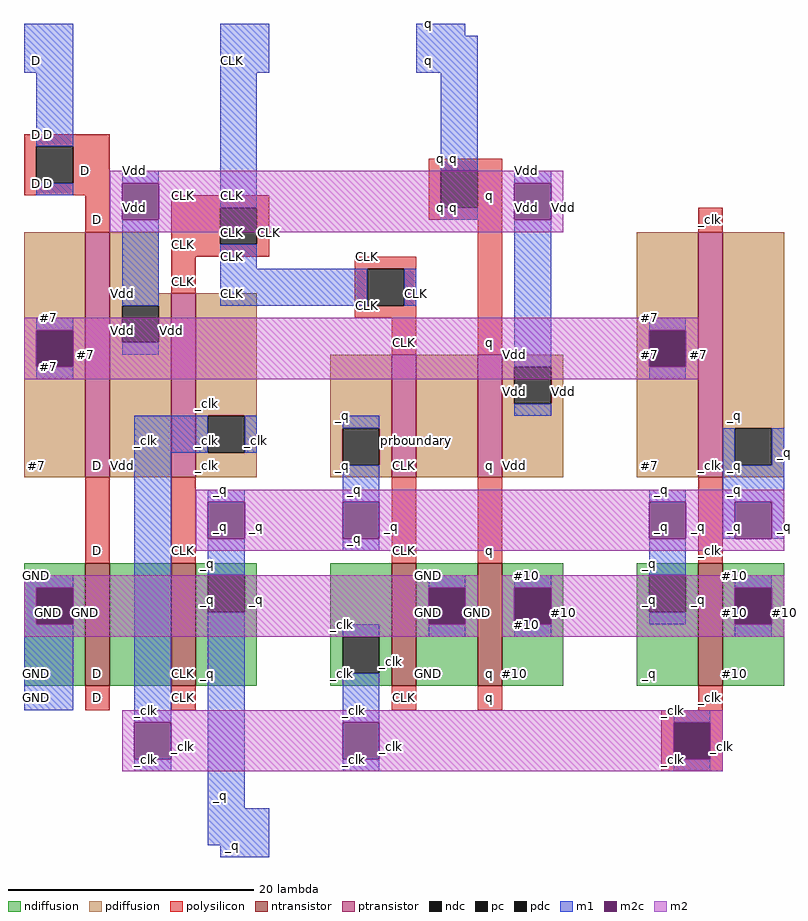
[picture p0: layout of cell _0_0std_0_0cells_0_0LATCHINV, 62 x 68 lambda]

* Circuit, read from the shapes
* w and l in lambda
.subckt _0_0std_0_0cells_0_0LATCHINV _q q CLK D
M1 n1 D GND VSUBS nfet w=10 l=2
M2 _q CLK n1 VSUBS nfet w=10 l=2
M3 GND CLK _clk VSUBS nfet w=10 l=2
M4 #10 q GND VSUBS nfet w=10 l=2
M5 #10 _clk _q VSUBS nfet w=10 l=2
M6 Vdd D #7 NWELL pfet w=20 l=2
M7 _clk CLK Vdd NWELL pfet w=15 l=2
M8 n2 CLK _q NWELL pfet w=10 l=2
M9 Vdd q n2 NWELL pfet w=10 l=2
M10 _q _clk #7 NWELL pfet w=20 l=2
.ends

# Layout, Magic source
magic
tech sky130l
<< ndiffusion >>
rect 8 26 13 28
rect 8 23 9 26
rect 12 23 13 26
rect 8 18 13 23
rect 15 18 20 28
rect 22 27 27 28
rect 22 24 23 27
rect 26 24 27 27
rect 22 18 27 24
rect 33 22 38 28
rect 33 19 34 22
rect 37 19 38 22
rect 33 18 38 19
rect 40 26 45 28
rect 40 23 41 26
rect 44 23 45 26
rect 40 18 45 23
rect 47 26 52 28
rect 47 23 48 26
rect 51 23 52 26
rect 47 18 52 23
rect 58 27 63 28
rect 58 24 59 27
rect 62 24 63 27
rect 58 18 63 24
rect 65 26 70 28
rect 65 23 66 26
rect 69 23 70 26
rect 65 18 70 23
<< ndc >>
rect 9 23 12 26
rect 23 24 26 27
rect 34 19 37 22
rect 41 23 44 26
rect 48 23 51 26
rect 59 24 62 27
rect 66 23 69 26
<< ntransistor >>
rect 13 18 15 28
rect 20 18 22 28
rect 38 18 40 28
rect 45 18 47 28
rect 63 18 65 28
<< pdiffusion >>
rect 8 47 13 55
rect 8 44 9 47
rect 12 44 13 47
rect 8 35 13 44
rect 15 50 19 55
rect 15 49 20 50
rect 15 46 16 49
rect 19 46 20 49
rect 15 35 20 46
rect 22 40 27 50
rect 58 47 63 55
rect 22 37 23 40
rect 26 37 27 40
rect 22 35 27 37
rect 33 39 38 45
rect 33 36 34 39
rect 37 36 38 39
rect 33 35 38 36
rect 40 35 45 45
rect 47 44 52 45
rect 47 41 48 44
rect 51 41 52 44
rect 47 35 52 41
rect 58 44 59 47
rect 62 44 63 47
rect 58 35 63 44
rect 65 39 70 55
rect 65 36 66 39
rect 69 36 70 39
rect 65 35 70 36
<< pdc >>
rect 9 44 12 47
rect 16 46 19 49
rect 23 37 26 40
rect 34 36 37 39
rect 48 41 51 44
rect 59 44 62 47
rect 66 36 69 39
<< ptransistor >>
rect 13 35 15 55
rect 20 35 22 50
rect 38 35 40 45
rect 45 35 47 45
rect 63 35 65 55
<< polysilicon >>
rect 8 62 15 63
rect 8 59 9 62
rect 12 59 15 62
rect 8 58 15 59
rect 41 60 47 61
rect 13 55 15 58
rect 20 57 28 58
rect 20 54 24 57
rect 27 54 28 57
rect 41 57 42 60
rect 45 57 47 60
rect 41 56 47 57
rect 20 53 28 54
rect 20 50 22 53
rect 35 52 40 53
rect 35 49 36 52
rect 39 49 40 52
rect 35 48 40 49
rect 38 45 40 48
rect 45 45 47 56
rect 63 55 65 57
rect 13 28 15 35
rect 20 28 22 35
rect 38 28 40 35
rect 45 28 47 35
rect 63 28 65 35
rect 13 16 15 18
rect 20 16 22 18
rect 38 16 40 18
rect 45 16 47 18
rect 63 16 65 18
rect 60 15 65 16
rect 60 12 61 15
rect 64 12 65 15
rect 60 11 65 12
<< pc >>
rect 9 59 12 62
rect 24 54 27 57
rect 42 57 45 60
rect 36 49 39 52
rect 61 12 64 15
<< m1 >>
rect 8 68 12 72
rect 9 62 12 68
rect 24 68 28 72
rect 40 71 44 72
rect 40 68 45 71
rect 9 58 12 59
rect 16 59 19 60
rect 16 49 19 56
rect 24 57 27 68
rect 42 60 45 68
rect 42 56 45 57
rect 48 59 51 60
rect 24 52 27 54
rect 24 49 36 52
rect 39 49 40 52
rect 9 47 12 48
rect 16 45 19 46
rect 9 43 12 44
rect 48 44 51 56
rect 59 47 62 48
rect 59 43 62 44
rect 48 40 51 41
rect 17 37 23 40
rect 26 37 27 40
rect 34 39 37 40
rect 8 26 12 27
rect 8 23 9 26
rect 8 16 12 23
rect 17 15 20 37
rect 17 11 20 12
rect 23 33 26 34
rect 23 27 26 30
rect 34 33 37 36
rect 65 36 66 39
rect 69 36 70 39
rect 34 29 37 30
rect 59 33 62 34
rect 65 33 70 36
rect 65 30 66 33
rect 69 30 70 33
rect 59 27 62 30
rect 23 8 26 24
rect 41 26 44 27
rect 34 22 37 23
rect 41 22 44 23
rect 48 26 51 27
rect 59 23 62 24
rect 66 26 69 27
rect 48 22 51 23
rect 66 22 69 23
rect 34 15 37 19
rect 34 11 37 12
rect 61 15 64 16
rect 61 11 64 12
rect 23 5 28 8
rect 24 4 28 5
<< m2c >>
rect 16 56 19 59
rect 48 56 51 59
rect 9 44 12 47
rect 59 44 62 47
rect 9 23 12 26
rect 17 12 20 15
rect 23 30 26 33
rect 34 30 37 33
rect 59 30 62 33
rect 66 30 69 33
rect 41 23 44 26
rect 48 23 51 26
rect 66 23 69 26
rect 34 12 37 15
rect 61 12 64 15
<< m2 >>
rect 15 59 52 60
rect 15 56 16 59
rect 19 56 48 59
rect 51 56 52 59
rect 15 55 52 56
rect 8 47 63 48
rect 8 44 9 47
rect 12 44 59 47
rect 62 44 63 47
rect 8 43 63 44
rect 22 33 70 34
rect 22 30 23 33
rect 26 30 34 33
rect 37 30 59 33
rect 62 30 66 33
rect 69 30 70 33
rect 22 29 70 30
rect 8 26 45 27
rect 8 23 9 26
rect 12 23 41 26
rect 44 23 45 26
rect 8 22 45 23
rect 47 26 70 27
rect 47 23 48 26
rect 51 23 66 26
rect 69 23 70 26
rect 47 22 70 23
rect 16 15 65 16
rect 16 12 17 15
rect 20 12 34 15
rect 37 12 61 15
rect 64 12 65 15
rect 16 11 65 12
<< labels >>
rlabel space 0 0 80 76 6 prboundary
rlabel ndiffusion 63 25 63 25 3 _q
rlabel ndiffusion 66 19 66 19 3 #10
rlabel ndiffusion 66 24 66 24 3 #10
rlabel ndiffusion 66 27 66 27 3 #10
rlabel ndiffusion 59 25 59 25 3 _q
rlabel pdiffusion 66 36 66 36 3 _q
rlabel pdiffusion 66 40 66 40 3 _q
rlabel ntransistor 64 19 64 19 3 _clk
rlabel polysilicon 64 29 64 29 3 _clk
rlabel ptransistor 64 36 64 36 3 _clk
rlabel polysilicon 64 56 64 56 3 _clk
rlabel ndiffusion 59 19 59 19 3 _q
rlabel ndiffusion 59 28 59 28 3 _q
rlabel pdiffusion 59 36 59 36 3 #7
rlabel pdiffusion 59 45 59 45 3 #7
rlabel pdiffusion 59 48 59 48 3 #7
rlabel pdiffusion 52 42 52 42 3 Vdd
rlabel polysilicon 46 58 46 58 3 q
rlabel polysilicon 46 46 46 46 3 q
rlabel ndiffusion 48 19 48 19 3 #10
rlabel pdiffusion 48 36 48 36 3 Vdd
rlabel pdiffusion 48 42 48 42 3 Vdd
rlabel pdiffusion 48 45 48 45 3 Vdd
rlabel polysilicon 42 57 42 57 3 q
rlabel polysilicon 42 58 42 58 3 q
rlabel polysilicon 42 61 42 61 3 q
rlabel polysilicon 64 17 64 17 3 _clk
rlabel ntransistor 46 19 46 19 3 q
rlabel polysilicon 46 29 46 29 3 q
rlabel ptransistor 46 36 46 36 3 q
rlabel ndiffusion 41 19 41 19 3 GND
rlabel ndiffusion 41 24 41 24 3 GND
rlabel ndiffusion 41 27 41 27 3 GND
rlabel ndiffusion 38 20 38 20 3 _clk
rlabel pdiffusion 38 37 38 37 3 _q
rlabel polysilicon 39 46 39 46 3 CLK
rlabel polysilicon 46 17 46 17 3 q
rlabel ntransistor 39 19 39 19 3 CLK
rlabel polysilicon 39 29 39 29 3 CLK
rlabel ptransistor 39 36 39 36 3 CLK
rlabel polysilicon 36 49 36 49 3 CLK
rlabel polysilicon 36 50 36 50 3 CLK
rlabel polysilicon 36 53 36 53 3 CLK
rlabel ndiffusion 34 19 34 19 3 _clk
rlabel ndiffusion 34 20 34 20 3 _clk
rlabel ndiffusion 34 23 34 23 3 _clk
rlabel ndiffusion 27 25 27 25 3 _q
rlabel pdiffusion 34 36 34 36 3 _q
rlabel pdiffusion 34 37 34 37 3 _q
rlabel pdiffusion 34 40 34 40 3 _q
rlabel polysilicon 28 55 28 55 3 CLK
rlabel polysilicon 39 17 39 17 3 CLK
rlabel ndiffusion 23 19 23 19 3 _q
rlabel ndiffusion 23 25 23 25 3 _q
rlabel ndiffusion 23 28 23 28 3 _q
rlabel pdiffusion 23 36 23 36 3 _clk
rlabel pdiffusion 23 38 23 38 3 _clk
rlabel pdiffusion 23 41 23 41 3 _clk
rlabel pdiffusion 20 47 20 47 3 Vdd
rlabel polysilicon 21 51 21 51 3 CLK
rlabel polysilicon 21 54 21 54 3 CLK
rlabel polysilicon 21 55 21 55 3 CLK
rlabel polysilicon 21 58 21 58 3 CLK
rlabel polysilicon 21 17 21 17 3 CLK
rlabel ntransistor 21 19 21 19 3 CLK
rlabel polysilicon 21 29 21 29 3 CLK
rlabel ptransistor 21 36 21 36 3 CLK
rlabel polysilicon 61 12 61 12 3 _clk
rlabel polysilicon 61 13 61 13 3 _clk
rlabel polysilicon 61 16 61 16 3 _clk
rlabel pdiffusion 16 36 16 36 3 Vdd
rlabel pdiffusion 16 47 16 47 3 Vdd
rlabel pdiffusion 16 50 16 50 3 Vdd
rlabel pdiffusion 16 51 16 51 3 Vdd
rlabel polysilicon 13 60 13 60 3 D
rlabel polysilicon 14 17 14 17 3 D
rlabel ntransistor 14 19 14 19 3 D
rlabel polysilicon 14 29 14 29 3 D
rlabel ptransistor 14 36 14 36 3 D
rlabel polysilicon 14 56 14 56 3 D
rlabel ndiffusion 9 19 9 19 3 GND
rlabel pdiffusion 9 36 9 36 3 #7
rlabel polysilicon 9 59 9 59 3 D
rlabel polysilicon 9 60 9 60 3 D
rlabel polysilicon 9 63 9 63 3 D
rlabel m1 70 37 70 37 3 _q
port 1 e
rlabel m1 67 27 67 27 3 #10
rlabel pdc 67 37 67 37 3 _q
port 1 e
rlabel m1 41 69 41 69 3 q
port 2 e
rlabel m1 41 72 41 72 3 q
port 2 e
rlabel m1 67 23 67 23 3 #10
rlabel m1 66 31 66 31 3 _q
port 1 e
rlabel m1 66 34 66 34 3 _q
port 1 e
rlabel m1 66 37 66 37 3 _q
port 1 e
rlabel m1 49 60 49 60 3 Vdd
rlabel m1 49 23 49 23 3 #10
rlabel m1 60 24 60 24 3 _q
port 1 e
rlabel ndc 60 25 60 25 3 _q
port 1 e
rlabel m1 60 28 60 28 3 _q
port 1 e
rlabel m1 60 34 60 34 3 _q
port 1 e
rlabel m1 60 44 60 44 3 #7
rlabel m1 60 48 60 48 3 #7
rlabel m1 43 57 43 57 3 q
port 2 e
rlabel pc 43 58 43 58 3 q
port 2 e
rlabel m1 43 61 43 61 3 q
port 2 e
rlabel m1 35 40 35 40 3 _q
port 1 e
rlabel m1 40 50 40 50 3 CLK
port 3 e
rlabel m1 62 12 62 12 3 _clk
rlabel m1 62 16 62 16 3 _clk
rlabel m1 42 23 42 23 3 GND
rlabel m1 49 27 49 27 3 #10
rlabel m1 49 41 49 41 3 Vdd
rlabel pdc 49 42 49 42 3 Vdd
rlabel m1 49 45 49 45 3 Vdd
rlabel m1 42 27 42 27 3 GND
rlabel pc 37 50 37 50 3 CLK
port 3 e
rlabel m1 35 30 35 30 3 _q
port 1 e
rlabel m1 35 34 35 34 3 _q
port 1 e
rlabel pdc 35 37 35 37 3 _q
port 1 e
rlabel m1 27 38 27 38 3 _clk
rlabel m1 25 50 25 50 3 CLK
port 3 e
rlabel m1 25 53 25 53 3 CLK
port 3 e
rlabel pc 25 55 25 55 3 CLK
port 3 e
rlabel m1 25 58 25 58 3 CLK
port 3 e
rlabel m1 25 69 25 69 3 CLK
port 3 e
rlabel m1 35 12 35 12 3 _clk
rlabel m1 35 16 35 16 3 _clk
rlabel ndc 35 20 35 20 3 _clk
rlabel m1 35 23 35 23 3 _clk
rlabel pdc 24 38 24 38 3 _clk
rlabel m1 25 5 25 5 3 _q
port 1 e
rlabel ndc 24 25 24 25 3 _q
port 1 e
rlabel m1 24 28 24 28 3 _q
port 1 e
rlabel m1 24 34 24 34 3 _q
port 1 e
rlabel m1 18 38 18 38 3 _clk
rlabel m1 24 6 24 6 3 _q
port 1 e
rlabel m1 24 9 24 9 3 _q
port 1 e
rlabel m1 17 46 17 46 3 Vdd
rlabel pdc 17 47 17 47 3 Vdd
rlabel m1 17 50 17 50 3 Vdd
rlabel m1 17 60 17 60 3 Vdd
rlabel m1 18 12 18 12 3 _clk
rlabel m1 18 16 18 16 3 _clk
rlabel m1 10 44 10 44 3 #7
rlabel m1 10 48 10 48 3 #7
rlabel m1 10 59 10 59 3 D
port 4 e
rlabel pc 10 60 10 60 3 D
port 4 e
rlabel m1 10 63 10 63 3 D
port 4 e
rlabel m1 9 17 9 17 3 GND
rlabel m1 9 69 9 69 3 D
port 4 e
rlabel m2 70 31 70 31 3 _q
port 1 e
rlabel m2c 67 31 67 31 3 _q
port 1 e
rlabel m2 63 31 63 31 3 _q
port 1 e
rlabel m2c 60 31 60 31 3 _q
port 1 e
rlabel m2 70 24 70 24 3 #10
rlabel m2 38 31 38 31 3 _q
port 1 e
rlabel m2c 67 24 67 24 3 #10
rlabel m2c 35 31 35 31 3 _q
port 1 e
rlabel m2 65 13 65 13 3 _clk
rlabel m2 52 24 52 24 3 #10
rlabel m2 27 31 27 31 3 _q
port 1 e
rlabel m2c 62 13 62 13 3 _clk
rlabel m2c 49 24 49 24 3 #10
rlabel m2c 24 31 24 31 3 _q
port 1 e
rlabel m2 52 57 52 57 3 Vdd
rlabel m2 38 13 38 13 3 _clk
rlabel m2 48 24 48 24 3 #10
rlabel m2 23 30 23 30 3 _q
port 1 e
rlabel m2 23 31 23 31 3 _q
port 1 e
rlabel m2 23 34 23 34 3 _q
port 1 e
rlabel m2c 49 57 49 57 3 Vdd
rlabel m2c 35 13 35 13 3 _clk
rlabel m2 20 57 20 57 3 Vdd
rlabel m2 21 13 21 13 3 _clk
rlabel m2 45 24 45 24 3 GND
rlabel m2 63 45 63 45 3 #7
rlabel m2c 17 57 17 57 3 Vdd
rlabel m2c 18 13 18 13 3 _clk
rlabel m2c 42 24 42 24 3 GND
rlabel m2c 60 45 60 45 3 #7
rlabel m2 16 56 16 56 3 Vdd
rlabel m2 16 57 16 57 3 Vdd
rlabel m2 16 60 16 60 3 Vdd
rlabel m2 17 12 17 12 3 _clk
rlabel m2 17 13 17 13 3 _clk
rlabel m2 17 16 17 16 3 _clk
rlabel m2 48 23 48 23 3 #10
rlabel m2 13 24 13 24 3 GND
rlabel m2 48 27 48 27 3 #10
rlabel m2 13 45 13 45 3 #7
rlabel m2c 10 24 10 24 3 GND
rlabel m2c 10 45 10 45 3 #7
rlabel m2 9 23 9 23 3 GND
rlabel m2 9 24 9 24 3 GND
rlabel m2 9 27 9 27 3 GND
rlabel m2 9 44 9 44 3 #7
rlabel m2 9 45 9 45 3 #7
rlabel m2 9 48 9 48 3 #7
<< end >>
